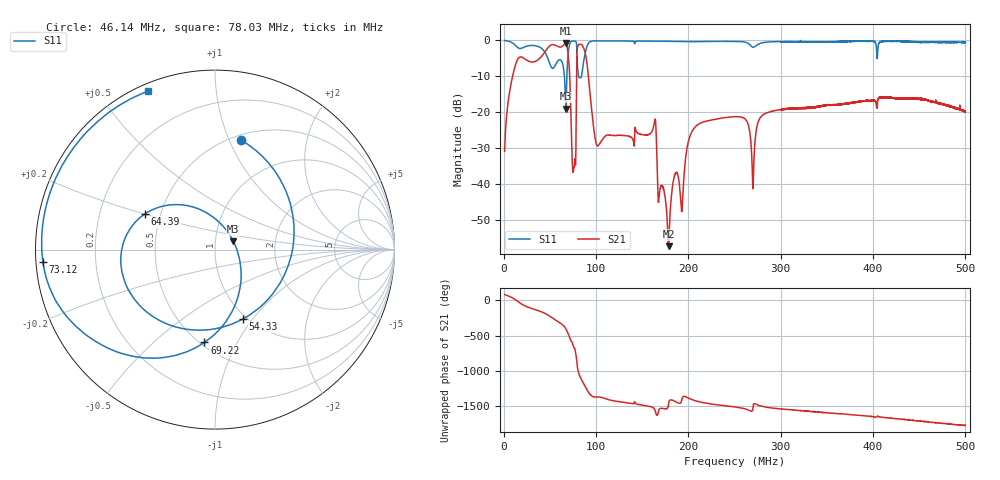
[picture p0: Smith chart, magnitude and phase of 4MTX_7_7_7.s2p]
! NanoVNA-App
! Date: 2026-08-18 20:51:32
! Start: 1MHz Stop: 500MHz Points: 6401
! S-Parameter data: F S11 S21 S12 S22
# Hz S RI R 50
!  Frequency  S11_Real  S11_Imag  S21_Real  S21_Imag  S12_Real  S12_Imag  S22_Real  S22_Imag
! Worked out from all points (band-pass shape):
!   6401 points, 1 MHz to 500 MHz, reference 50 ohm
!   highest |S21| = -0.89 dB at 67.12 MHz (marker M1); lowest = -57.2 dB at 178.5 MHz (marker M2)
!   |S21| within 3 dB of the highest: 42.85 MHz to 69.76 MHz (26.91 MHz wide, 47.8 % of centre); 79.36 MHz to 88.55 MHz (9.185 MHz wide, 10.9 % of centre)
!   lowest |S11| = -19.0 dB at 67.35 MHz (marker M3), VSWR 1.25, Z = 61 + j5.82 ohm
!   |S11| at or under -10 dB: 65.73 MHz to 68.44 MHz (2.709 MHz wide, 4.04 % of centre); 81.06 MHz to 84.23 MHz (3.176 MHz wide, 3.84 % of centre)
!   S12 and S22 are empty: the file has one direction only
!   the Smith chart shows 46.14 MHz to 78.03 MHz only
!   S11 on the Smith chart (normalised r, x): 46.14 MHz: 0.55, +1.11; 54.33 MHz: 0.96, -0.90; 64.39 MHz: 0.41, +0.20; 69.22 MHz: 0.52, -0.74; 73.12 MHz: 0.02, -0.04; 78.03 MHz: 0.03, +0.66
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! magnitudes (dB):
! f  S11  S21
! 1 MHz  -0.1  -30.8
! 14.49 MHz  -1.9  -5.6
! 46.14 MHz  -4.0  -2.7
! 54.33 MHz  -7.6  -1.3
! 64.39 MHz  -7.2  -1.5
! 67.12 MHz  -18.2  -0.9
! 67.35 MHz  -19.0  -0.9
! 69.22 MHz  -5.7  -2.7
! 73.12 MHz  -0.4  -24.3
! 75.85 MHz  -0.3  -35.6
! 78.03 MHz  -0.4  -33.0
! 84.19 MHz  -10.0  -1.2
! 101.1 MHz  -0.2  -29.2
! 162.6 MHz  -0.3  -23.6
! 167.4 MHz  -0.3  -44.6
! 178.5 MHz  -0.3  -57.2
! 205 MHz  -0.4  -24.9
! 250.5 MHz  -0.4  -21.2
! 269.9 MHz  -2.0  -41.2
! 333.7 MHz  -0.5  -18.7
! 416.9 MHz  -0.2  -15.9
! 500 MHz  -0.7  -20.0
